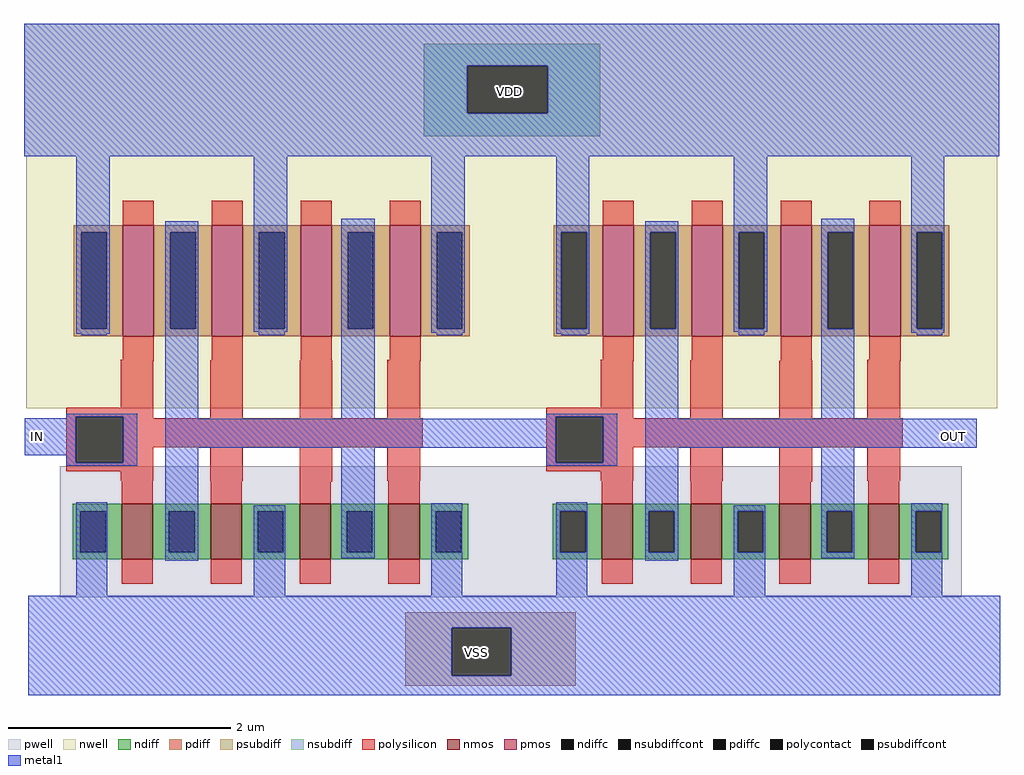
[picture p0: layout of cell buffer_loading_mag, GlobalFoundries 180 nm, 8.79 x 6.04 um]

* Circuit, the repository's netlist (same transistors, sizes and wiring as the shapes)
* NGSPICE file created from buffer_loading_mag.ext - technology: gf180mcuC

.subckt nmos_3p3_5GGST2 a_n52_n50# a_n212_n50# a_52_n94# a_108_n50# a_n356_n50# a_268_n50#
+ a_n108_n94# a_n268_n94# a_212_n94# VSUBS
X0 a_108_n50# a_52_n94# a_n52_n50# VSUBS nfet_03v3 ad=0.13p pd=1.02u as=0.13p ps=1.02u w=0.5u l=0.28u
X1 a_268_n50# a_212_n94# a_108_n50# VSUBS nfet_03v3 ad=0.22p pd=1.88u as=0.13p ps=1.02u w=0.5u l=0.28u
X2 a_n52_n50# a_n108_n94# a_n212_n50# VSUBS nfet_03v3 ad=0.13p pd=1.02u as=0.13p ps=1.02u w=0.5u l=0.28u
X3 a_n212_n50# a_n268_n94# a_n356_n50# VSUBS nfet_03v3 ad=0.13p pd=1.02u as=0.22p ps=1.88u w=0.5u l=0.28u
.ends

.subckt pmos_3p3_MWXUAR a_212_n144# a_268_n100# a_n268_n144# a_n356_n100# a_n52_n100#
+ a_n212_n100# w_n442_n230# a_108_n100# a_52_n144# a_n108_n144#
X0 a_n52_n100# a_n108_n144# a_n212_n100# w_n442_n230# pfet_03v3 ad=0.26p pd=1.52u as=0.26p ps=1.52u w=1u l=0.28u
X1 a_n212_n100# a_n268_n144# a_n356_n100# w_n442_n230# pfet_03v3 ad=0.26p pd=1.52u as=0.44p ps=2.88u w=1u l=0.28u
X2 a_108_n100# a_52_n144# a_n52_n100# w_n442_n230# pfet_03v3 ad=0.26p pd=1.52u as=0.26p ps=1.52u w=1u l=0.28u
X3 a_268_n100# a_212_n144# a_108_n100# w_n442_n230# pfet_03v3 ad=0.44p pd=2.88u as=0.26p ps=1.52u w=1u l=0.28u
.ends

.subckt buffer_loading_mag IN OUT VDD
Xnmos_3p3_5GGST2_0 VSS a_876_227# IN a_876_227# VSS VSS IN IN IN VSS nmos_3p3_5GGST2
Xpmos_3p3_MWXUAR_0 IN VDD IN VDD VDD a_876_227# VDD a_876_227# IN IN pmos_3p3_MWXUAR
X0 OUT a_876_227# VDD VDD pfet_03v3 ad=0.26p pd=1.52u as=0.26p ps=1.52u w=1u l=0.28u
X1 OUT a_876_227# VSS VSS nfet_03v3 ad=0.13p pd=1.02u as=0.22p ps=1.88u w=0.5u l=0.28u
X2 VSS a_876_227# OUT VSS nfet_03v3 ad=0.22p pd=1.88u as=0.13p ps=1.02u w=0.5u l=0.28u
X3 OUT a_876_227# VDD VDD pfet_03v3 ad=0.26p pd=1.52u as=0.44p ps=2.88u w=1u l=0.28u
X4 VDD a_876_227# OUT VDD pfet_03v3 ad=0.44p pd=2.88u as=0.26p ps=1.52u w=1u l=0.28u
X5 OUT a_876_227# VSS VSS nfet_03v3 ad=0.13p pd=1.02u as=0.13p ps=1.02u w=0.5u l=0.28u
X6 VSS a_876_227# OUT VSS nfet_03v3 ad=0.13p pd=1.02u as=0.13p ps=1.02u w=0.5u l=0.28u
X7 VDD a_876_227# OUT VDD pfet_03v3 ad=0.26p pd=1.52u as=0.26p ps=1.52u w=1u l=0.28u
.ends

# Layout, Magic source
magic
tech gf180mcuC
magscale 1 10
<< nwell >>
rect -64 794 1692 1032
rect 804 340 1688 794
<< pwell >>
rect 524 0 1624 236
<< nmos >>
rect 976 68 1032 168
rect 1136 68 1192 168
rect 1296 68 1352 168
rect 1456 68 1512 168
<< pmos >>
rect 978 470 1034 670
rect 1138 470 1194 670
rect 1298 470 1354 670
rect 1458 470 1514 670
<< ndiff >>
rect 888 155 976 168
rect 888 81 901 155
rect 947 81 976 155
rect 888 68 976 81
rect 1032 155 1136 168
rect 1032 81 1061 155
rect 1107 81 1136 155
rect 1032 68 1136 81
rect 1192 155 1296 168
rect 1192 81 1221 155
rect 1267 81 1296 155
rect 1192 68 1296 81
rect 1352 155 1456 168
rect 1352 81 1381 155
rect 1427 81 1456 155
rect 1352 68 1456 81
rect 1512 155 1600 168
rect 1512 81 1541 155
rect 1587 81 1600 155
rect 1512 68 1600 81
<< pdiff >>
rect 890 657 978 670
rect 890 483 903 657
rect 949 483 978 657
rect 890 470 978 483
rect 1034 657 1138 670
rect 1034 483 1063 657
rect 1109 483 1138 657
rect 1034 470 1138 483
rect 1194 657 1298 670
rect 1194 483 1223 657
rect 1269 483 1298 657
rect 1194 470 1298 483
rect 1354 657 1458 670
rect 1354 483 1383 657
rect 1429 483 1458 657
rect 1354 470 1458 483
rect 1514 657 1602 670
rect 1514 483 1543 657
rect 1589 483 1602 657
rect 1514 470 1602 483
<< ndiffc >>
rect 901 81 947 155
rect 1061 81 1107 155
rect 1221 81 1267 155
rect 1381 81 1427 155
rect 1541 81 1587 155
<< pdiffc >>
rect 903 483 949 657
rect 1063 483 1109 657
rect 1223 483 1269 657
rect 1383 483 1429 657
rect 1543 483 1589 657
<< psubdiff >>
rect 622 -55 929 -27
rect 622 -141 706 -55
rect 813 -141 929 -55
rect 622 -159 929 -141
<< nsubdiff >>
rect 656 957 973 996
rect 656 871 734 957
rect 879 871 973 957
rect 656 830 973 871
<< psubdiffcont >>
rect 706 -141 813 -55
<< nsubdiffcont >>
rect 734 871 879 957
<< polysilicon >>
rect 978 670 1034 714
rect 1138 670 1194 714
rect 1298 670 1354 714
rect 1458 670 1514 714
rect 978 428 1034 470
rect 110 341 169 428
rect 12 325 169 341
rect 12 242 29 325
rect 115 322 169 325
rect 271 322 330 427
rect 432 322 491 426
rect 590 322 649 428
rect 974 426 1034 428
rect 1138 427 1194 470
rect 974 341 1033 426
rect 876 325 1033 341
rect 115 270 654 322
rect 115 242 169 270
rect 12 227 169 242
rect 110 210 169 227
rect 271 209 330 270
rect 432 208 491 270
rect 590 210 649 270
rect 876 242 893 325
rect 979 322 1033 325
rect 1135 322 1194 427
rect 1298 426 1354 470
rect 1458 428 1514 470
rect 1454 426 1514 428
rect 1296 322 1355 426
rect 1454 322 1513 426
rect 979 270 1518 322
rect 979 242 1033 270
rect 876 227 1033 242
rect 974 210 1033 227
rect 976 168 1032 210
rect 1135 209 1194 270
rect 1136 168 1192 209
rect 1296 208 1355 270
rect 1454 210 1513 270
rect 1296 168 1352 208
rect 1456 168 1512 210
rect 976 24 1032 68
rect 1136 24 1192 68
rect 1296 24 1352 68
rect 1456 24 1512 68
<< polycontact >>
rect 29 242 115 325
rect 893 242 979 325
<< metal1 >>
rect -64 957 1692 1032
rect -64 871 734 957
rect 879 871 1692 957
rect -64 794 1692 871
rect 30 474 90 794
rect 12 325 140 330
rect 12 322 29 325
rect -63 256 29 322
rect 12 242 29 256
rect 115 242 140 325
rect 12 237 140 242
rect 190 321 250 677
rect 350 478 410 794
rect 507 321 567 681
rect 669 476 729 794
rect 894 657 954 794
rect 894 483 903 657
rect 949 483 954 657
rect 894 474 954 483
rect 1054 657 1114 677
rect 1054 483 1063 657
rect 1109 483 1114 657
rect 903 472 949 474
rect 876 325 1004 330
rect 876 321 893 325
rect 190 269 893 321
rect 30 3 86 171
rect 190 66 250 269
rect 350 3 406 166
rect 507 70 567 269
rect 876 242 893 269
rect 979 242 1004 325
rect 876 237 1004 242
rect 1054 321 1114 483
rect 1214 657 1274 794
rect 1214 483 1223 657
rect 1269 483 1274 657
rect 1214 478 1274 483
rect 1371 657 1431 681
rect 1371 483 1383 657
rect 1429 483 1431 657
rect 1223 472 1269 478
rect 1371 321 1431 483
rect 1533 657 1593 794
rect 1533 483 1543 657
rect 1589 483 1593 657
rect 1533 476 1593 483
rect 1543 472 1589 476
rect 1054 269 1651 321
rect 669 3 725 169
rect 894 155 950 171
rect 894 81 901 155
rect 947 81 950 155
rect 894 3 950 81
rect 1054 155 1114 269
rect 1054 81 1061 155
rect 1107 81 1114 155
rect 1054 66 1114 81
rect 1214 155 1270 166
rect 1214 81 1221 155
rect 1267 81 1270 155
rect 1214 3 1270 81
rect 1371 155 1431 269
rect 1371 81 1381 155
rect 1427 81 1431 155
rect 1371 70 1431 81
rect 1533 155 1589 169
rect 1533 81 1541 155
rect 1587 81 1589 155
rect 1533 3 1589 81
rect -56 -55 1693 3
rect -56 -141 706 -55
rect 813 -141 1693 -55
rect -56 -176 1693 -141
use nmos_3p3_5GGST2  nmos_3p3_5GGST2_0
transform 1 0 380 0 1 118
box -380 -118 380 118
use pmos_3p3_MWXUAR  pmos_3p3_MWXUAR_0
transform 1 0 382 0 1 570
box -442 -230 442 230
<< labels >>
flabel nsubdiffcont 810 910 810 910 0 FreeSans 320 0 0 0 VDD
port 0 nsew
flabel psubdiffcont 750 -100 750 -100 0 FreeSans 320 0 0 0 VSS
port 1 nsew
flabel metal1 1610 290 1610 290 0 FreeSans 320 0 0 0 OUT
port 2 nsew
flabel metal1 -40 290 -40 290 0 FreeSans 320 0 0 0 IN
port 3 nsew
<< end >>

# cell nmos_3p3_5GGST2: kit device nmos_3p3, w 0.5 l 0.280 m 1 nf 4 diffcov 100 polycov 100 guard 0 glc 0 grc 0 gtc 0 gbc 0 tbcov 100 rlcov 100 topc 0 botc 0 poverlap 0 doverlap 1 lmin 0.28 wmin 0.22 full_metal 0 compatible {nmos_3p3 nmos_6p0 nmos_6p0_nat}

# cell pmos_3p3_MWXUAR: kit device pmos_3p3, w 1 l 0.280 m 1 nf 4 diffcov 100 polycov 100 guard 0 glc 0 grc 0 gtc 0 gbc 0 tbcov 100 rlcov 100 topc 0 botc 0 poverlap 0 doverlap 1 lmin 0.28 wmin 0.22 full_metal 0 compatible {pmos_3p3 pmos_6p0}
